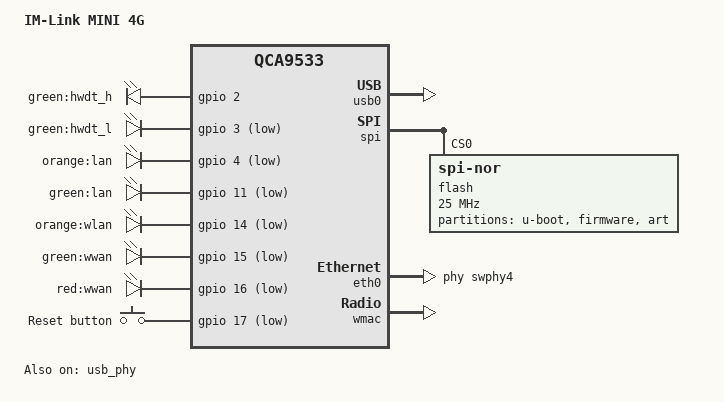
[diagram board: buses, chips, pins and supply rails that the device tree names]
// SPDX-License-Identifier: GPL-2.0-or-later OR MIT

#include "qca953x.dtsi"

#include <dt-bindings/gpio/gpio.h>
#include <dt-bindings/input/input.h>

/ {
	compatible = "imlink,mini4g", "qca,qca9533";
	model = "IM-Link MINI 4G";

	aliases {
		led-boot = &led_wlan;
		led-failsafe = &led_wlan;
		led-running = &led_wlan;
		led-upgrade = &led_wlan;
		label-mac-device = &eth1;
	};

	leds {
		compatible = "gpio-leds";

		hwdt_h {
			label = "green:hwdt_h";
			gpios = <&gpio 2 GPIO_ACTIVE_HIGH>;
			linux,default-trigger = "timer";
		};

		hwdt_l {
			label = "green:hwdt_l";
			gpios = <&gpio 3 GPIO_ACTIVE_LOW>;
			linux,default-trigger = "timer";
		};

		lan_orange {
			label = "orange:lan";
			gpios = <&gpio 4 GPIO_ACTIVE_LOW>;
		};

		lan_green {
			label = "green:lan";
			gpios = <&gpio 11 GPIO_ACTIVE_LOW>;
		};

		led_wlan: wlan {
			label = "orange:wlan";
			gpios = <&gpio 14 GPIO_ACTIVE_LOW>;
			linux,default-trigger = "phy0pt";
		};

		wwan_ok {
			label = "green:wwan";
			gpios = <&gpio 15 GPIO_ACTIVE_LOW>;
		};

		wwan_err {
			label = "red:wwan";
			gpios = <&gpio 16 GPIO_ACTIVE_LOW>;
		};
	};

	keys {
		compatible = "gpio-keys";

		reset {
			label = "Reset button";
			linux,code = <KEY_RESTART>;
			gpios = <&gpio 17 GPIO_ACTIVE_LOW>;
			debounce-interval = <60>;
		};
	};
};

&usb0 {
	#address-cells = <1>;
	#size-cells = <0>;
	status = "okay";

	hub_port: port@1 {
		reg = <1>;
		#trigger-source-cells = <0>;
	};
};

&usb_phy {
	status = "okay";
};

&spi {
	status = "okay";

	flash@0 {
		compatible = "jedec,spi-nor";
		reg = <0>;
		spi-max-frequency = <25000000>;

		partitions {
			compatible = "fixed-partitions";
			#address-cells = <1>;
			#size-cells = <1>;

			uboot: partition@0 {
				label = "u-boot";
				reg = <0x000000 0x020000>;
				read-only;
			};

			partition@20000 {
				compatible = "tplink,firmware";
				label = "firmware";
				reg = <0x020000 0xfd0000>;
			};

			art: partition@ff0000 {
				label = "art";
				reg = <0xff0000 0x010000>;
				read-only;
			};
		};
	};
};

&eth0 {
	status = "okay";

	phy-handle = <&swphy4>;

	mtd-mac-address = <&art 0x1002>;
	mtd-mac-address-increment = <1>;
};

&eth1 {
	mtd-mac-address = <&art 0x1002>;
	mtd-mac-address-increment = <2>;
};

&wmac {
	status = "okay";

	mtd-cal-data = <&art 0x1000>;
	mtd-mac-address = <&art 0x1002>;
};
